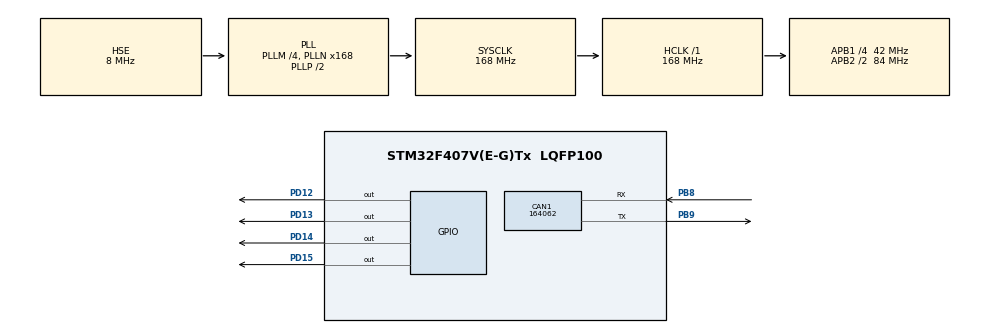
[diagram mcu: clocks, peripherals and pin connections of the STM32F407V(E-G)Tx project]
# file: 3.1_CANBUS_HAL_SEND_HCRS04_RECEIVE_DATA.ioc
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CAN1.BS1=CAN_BS1_10TQ
CAN1.BS2=CAN_BS2_5TQ
CAN1.CalculateBaudRate=164062
CAN1.CalculateTimeBit=6095
CAN1.CalculateTimeQuantum=380.95238095238096
Mcu.Family=STM32F4
Mcu.Name=STM32F407V(E-G)Tx
Mcu.Package=LQFP100
NVIC.CAN1_RX0_IRQn=true\:0\:0\:false\:false\:true\:true\:true\:true
NVIC.PriorityGroup=NVIC_PRIORITYGROUP_4
PB8.Mode=CAN_Activate
PB8.Signal=CAN1_RX
PB9.Mode=CAN_Activate
PB9.Signal=CAN1_TX
PD12.Signal=GPIO_Output
PD13.Signal=GPIO_Output
PD14.Signal=GPIO_Output
PD15.Signal=GPIO_Output
PH0-OSC_IN.Mode=HSE-External-Oscillator
PH0-OSC_IN.Signal=RCC_OSC_IN
PH1-OSC_OUT.Mode=HSE-External-Oscillator
PH1-OSC_OUT.Signal=RCC_OSC_OUT
ProjectManager.HeapSize=0x200
ProjectManager.StackSize=0x400
ProjectManager.TargetToolchain=STM32CubeIDE
RCC.48MHZClocksFreq_Value=84000000
RCC.AHBFreq_Value=168000000
RCC.APB1CLKDivider=RCC_HCLK_DIV4
RCC.APB1Freq_Value=42000000
RCC.APB1TimFreq_Value=84000000
RCC.APB2CLKDivider=RCC_HCLK_DIV2
RCC.APB2Freq_Value=84000000
RCC.APB2TimFreq_Value=168000000
RCC.CortexFreq_Value=168000000
RCC.HCLKFreq_Value=168000000
RCC.HSE_VALUE=8000000
RCC.HSI_VALUE=16000000
RCC.LSE_VALUE=32768
RCC.PLLM=4
RCC.PLLN=168
RCC.PLLSourceVirtual=RCC_PLLSOURCE_HSE
RCC.SYSCLKFreq_VALUE=168000000
RCC.SYSCLKSource=RCC_SYSCLKSOURCE_PLLCLK
RCC.VCOOutputFreq_Value=336000000
board=custom

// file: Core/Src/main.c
/* USER CODE BEGIN Header */
/**
  ******************************************************************************
  * @file           : main.c
  * @brief          : Main program body
  ******************************************************************************
  * @attention
  *
  * Copyright (c) 2022 STMicroelectronics.
  * All rights reserved.
  *
  * This software is licensed under terms that can be found in the LICENSE file
  * in the root directory of this software component.
  * If no LICENSE file comes with this software, it is provided AS-IS.
  *
  ******************************************************************************
  */
/* USER CODE END Header */
#include "main.h"

 CAN_HandleTypeDef hcan1;

/* USER CODE BEGIN PV */
 CAN_RxHeaderTypeDef pRxHeader;
 uint8_t hsar_data;
 CAN_FilterTypeDef	sFilterConfig;
 CAN_TxHeaderTypeDef pTxHeader;
/* USER CODE END PV */

void SystemClock_Config(void);
static void MX_GPIO_Init(void);
static void MX_CAN1_Init(void);

int main(void)
{

  /* MCU Configuration--------------------------------------------------------*/

  /* Reset of all peripherals, Initializes the Flash interface and the Systick. */
  HAL_Init();

  /* Configure the system clock */
  SystemClock_Config();

  /* Initialize all configured peripherals */
  MX_GPIO_Init();
  MX_CAN1_Init();
  /* USER CODE BEGIN 2 */
  HAL_CAN_Start(&hcan1);
  HAL_CAN_ActivateNotification(&hcan1, CAN_IT_RX_FIFO0_MSG_PENDING);

  pTxHeader.DLC=1;
  pTxHeader.IDE=CAN_ID_STD;
  pTxHeader.RTR=CAN_RTR_DATA;
  pTxHeader.StdId=0x0155;

  sFilterConfig.FilterBank=0;//0-13 FARKLI FILTER DEGER AZALDIKCA ONCELIK ARTAR
  sFilterConfig.FilterActivation=CAN_FILTER_ENABLE;
  sFilterConfig.FilterFIFOAssignment=CAN_FILTER_FIFO0;
  sFilterConfig.FilterIdHigh=0x0150 << 5; // EXTENTED ID OLSAYDI >>13 //
  sFilterConfig.FilterIdLow=0x0070;   // 0XFF0  | CAN_IDE_32 ; EXTENTED DA AŞAĞIYIDA FİLTERLER
  sFilterConfig.FilterMaskIdHigh=0xFFF0; // 0x0150 << 5; 0150-015F // EXTENTED ID OLSAYDI >>13 //
  sFilterConfig.FilterMaskIdLow=0x0FF0 ; // 0070-007F 			// 0XFF0  | CAN_IDE_32 ; EXTENTED DA AŞAĞIYIDA FİLTERLER
  sFilterConfig.FilterMode=CAN_FILTERMODE_IDMASK; // IDLIST SADECE MASKTAKI VE FILTERDAKI ID LER 4*14=56 ID FILTRELENIR
  sFilterConfig.FilterScale=CAN_FILTERSCALE_16BIT;

  HAL_CAN_ConfigFilter(&hcan1,&sFilterConfig );
  /* USER CODE END 2 */

  /* Infinite loop */
  while (1)
  {

    /* USER CODE BEGIN 3 */
   if(hsar_data>6 && hsar_data<12){
	   HAL_GPIO_WritePin(GPIOD, GPIO_PIN_12, GPIO_PIN_SET);
	   HAL_GPIO_WritePin(GPIOD, GPIO_PIN_13|GPIO_PIN_14|GPIO_PIN_15, GPIO_PIN_RESET);
   }
   else if(hsar_data>12 && hsar_data<18){
	   HAL_GPIO_WritePin(GPIOD, GPIO_PIN_12|GPIO_PIN_13, GPIO_PIN_SET);
	   HAL_GPIO_WritePin(GPIOD, GPIO_PIN_14|GPIO_PIN_15, GPIO_PIN_RESET);
   }
   else if(hsar_data>18 && hsar_data<24){
	   HAL_GPIO_WritePin(GPIOD, GPIO_PIN_12|GPIO_PIN_13|GPIO_PIN_14, GPIO_PIN_SET);
	   HAL_GPIO_WritePin(GPIOD, GPIO_PIN_15, GPIO_PIN_RESET);
   }
   else if(hsar_data>24){
	   HAL_GPIO_WritePin(GPIOD, GPIO_PIN_12|GPIO_PIN_13|GPIO_PIN_14|GPIO_PIN_15, GPIO_PIN_RESET);
   }
  }
  /* USER CODE END 3 */
}

void SystemClock_Config(void)
{
  RCC_OscInitTypeDef RCC_OscInitStruct = {0};
  RCC_ClkInitTypeDef RCC_ClkInitStruct = {0};

  /** Configure the main internal regulator output voltage
  */
  __HAL_RCC_PWR_CLK_ENABLE();
  __HAL_PWR_VOLTAGESCALING_CONFIG(PWR_REGULATOR_VOLTAGE_SCALE1);

  /** Initializes the RCC Oscillators according to the specified parameters
  * in the RCC_OscInitTypeDef structure.
  */
  RCC_OscInitStruct.OscillatorType = RCC_OSCILLATORTYPE_HSE;
  RCC_OscInitStruct.HSEState = RCC_HSE_ON;
  RCC_OscInitStruct.PLL.PLLState = RCC_PLL_ON;
  RCC_OscInitStruct.PLL.PLLSource = RCC_PLLSOURCE_HSE;
  RCC_OscInitStruct.PLL.PLLM = 4;
  RCC_OscInitStruct.PLL.PLLN = 168;
  RCC_OscInitStruct.PLL.PLLP = RCC_PLLP_DIV2;
  RCC_OscInitStruct.PLL.PLLQ = 4;
  if (HAL_RCC_OscConfig(&RCC_OscInitStruct) != HAL_OK)
  {
    Error_Handler();
  }

  /** Initializes the CPU, AHB and APB buses clocks
  */
  RCC_ClkInitStruct.ClockType = RCC_CLOCKTYPE_HCLK|RCC_CLOCKTYPE_SYSCLK
                              |RCC_CLOCKTYPE_PCLK1|RCC_CLOCKTYPE_PCLK2;
  RCC_ClkInitStruct.SYSCLKSource = RCC_SYSCLKSOURCE_PLLCLK;
  RCC_ClkInitStruct.AHBCLKDivider = RCC_SYSCLK_DIV1;
  RCC_ClkInitStruct.APB1CLKDivider = RCC_HCLK_DIV4;
  RCC_ClkInitStruct.APB2CLKDivider = RCC_HCLK_DIV2;

  if (HAL_RCC_ClockConfig(&RCC_ClkInitStruct, FLASH_LATENCY_5) != HAL_OK)
  {
    Error_Handler();
  }
}

static void MX_CAN1_Init(void)
{

  hcan1.Instance = CAN1;
  hcan1.Init.Prescaler = 16;
  hcan1.Init.Mode = CAN_MODE_NORMAL;
  hcan1.Init.SyncJumpWidth = CAN_SJW_1TQ;
  hcan1.Init.TimeSeg1 = CAN_BS1_10TQ;
  hcan1.Init.TimeSeg2 = CAN_BS2_5TQ;
  hcan1.Init.TimeTriggeredMode = DISABLE;
  hcan1.Init.AutoBusOff = DISABLE;
  hcan1.Init.AutoWakeUp = DISABLE;
  hcan1.Init.AutoRetransmission = DISABLE;
  hcan1.Init.ReceiveFifoLocked = DISABLE;
  hcan1.Init.TransmitFifoPriority = DISABLE;
  if (HAL_CAN_Init(&hcan1) != HAL_OK)
  {
    Error_Handler();
  }

}

static void MX_GPIO_Init(void)
{
  GPIO_InitTypeDef GPIO_InitStruct = {0};

  /* GPIO Ports Clock Enable */
  __HAL_RCC_GPIOH_CLK_ENABLE();
  __HAL_RCC_GPIOD_CLK_ENABLE();
  __HAL_RCC_GPIOB_CLK_ENABLE();

  /*Configure GPIO pin Output Level */
  HAL_GPIO_WritePin(GPIOD, GPIO_PIN_12|GPIO_PIN_13|GPIO_PIN_14|GPIO_PIN_15, GPIO_PIN_RESET);

  /*Configure GPIO pins : PD12 PD13 PD14 PD15 */
  GPIO_InitStruct.Pin = GPIO_PIN_12|GPIO_PIN_13|GPIO_PIN_14|GPIO_PIN_15;
  GPIO_InitStruct.Mode = GPIO_MODE_OUTPUT_PP;
  GPIO_InitStruct.Pull = GPIO_NOPULL;
  GPIO_InitStruct.Speed = GPIO_SPEED_FREQ_LOW;
  HAL_GPIO_Init(GPIOD, &GPIO_InitStruct);

}

void Error_Handler(void)
{
  __disable_irq();
  while (1)
  {
  }
}
